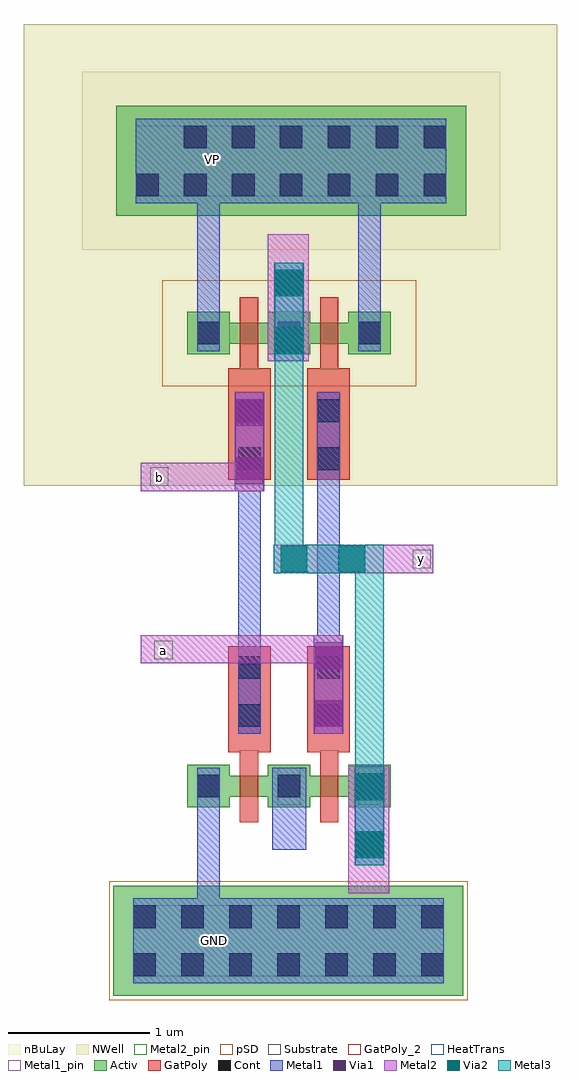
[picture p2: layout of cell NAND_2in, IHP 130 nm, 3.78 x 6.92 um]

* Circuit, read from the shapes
.subckt NAND_2in GND VP a b y
XM1 n1 b GND GND sg13_lv_nmos w=0.15u l=0.13u
XM2 y a n1 GND sg13_lv_nmos w=0.15u l=0.13u
XM3 y b VP VP sg13_lv_pmos w=0.15u l=0.13u
XM4 VP a y VP sg13_lv_pmos w=0.15u l=0.13u
.ends

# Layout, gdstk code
from math import pi, radians
import gdstk
lib = gdstk.Library(unit=1e-6, precision=1e-09)
def R(c, l, rs):  # rectangles x0, y0, x1, y1
    for r in rs: c.add(gdstk.rectangle(r[:2], r[2:], *l))
def A(c, l, x, y, w, h, nx, ny, dx, dy):  # array of equal rectangles
    R(c, l, [(x+i*dx, y+j*dy, x+i*dx+w, y+j*dy+h) for i in range(nx) for j in range(ny)])
Activ = (1, 0)
GatPoly = (5, 0)
GatPoly_2 = (5, 2)
Cont = (6, 0)
Metal1 = (8, 0)
Metal1_pin = (8, 2)
Metal2 = (10, 0)
Metal2_pin = (10, 2)
pSD = (14, 0)
Via1 = (19, 0)
Via2 = (29, 0)
Metal3 = (30, 0)
NWell = (31, 0)
nBuLay = (32, 0)
Substrate = (40, 0)
HeatTrans = (51, 0)

pmos_5 = lib.new_cell('pmos$5')
A(pmos_5, Activ, 0, 0, 0.3, 0.3, 3, 1, 0.57, 0)
R(pmos_5, Activ, [(0,0.075,1.44,0.225)])
R(pmos_5, GatPoly, [(0.37,-0.105,0.5,0.405), (0.37,-0.105,0.5,0.405), (0.94,-0.105,1.07,0.405)])
A(pmos_5, Cont, 0.07, 0.07, 0.16, 0.16, 3, 1, 0.57, 0)
R(pmos_5, Metal1, [(0.07,0.02,0.23,0.28), (0.07,0.02,0.23,0.28), (0.64,0.02,0.8,0.28), (0.64,0.02,0.8,0.28), (1.21,0.02,1.37,0.28)])
R(pmos_5, pSD, [(-0.18,-0.225,1.62,0.525)])
R(pmos_5, NWell, [(-0.31,-0.31,1.75,0.61)])
R(pmos_5, Substrate, [(1.14,0,1.44,0.3)])
R(pmos_5, HeatTrans, [(0.37,-0.105,0.5,0.405), (0.94,-0.105,1.07,0.405)])
pmos_5.add(gdstk.Label('pmos', (0.435,0.15), layer=63, texttype=0))
pmos_5.add(gdstk.Label('pmos', (0.435,0.15), layer=51, texttype=0))
pmos_5.add(gdstk.Label('pmos', (1.005,0.15), layer=51, texttype=0))

via_14 = lib.new_cell('Via$14')
R(via_14, GatPoly, [(-0.32,-0.15,0.32,0.15)])
R(via_14, Cont, [(-0.25,-0.08,-0.09,0.08), (0.09,-0.08,0.25,0.08)])
R(via_14, Metal1, [(-0.3,-0.08,0.3,0.08)])

nmos_5 = lib.new_cell('nmos$5')
A(nmos_5, Activ, 0, 0, 0.3, 0.3, 3, 1, 0.57, 0)
R(nmos_5, Activ, [(0,0.075,1.44,0.225)])
R(nmos_5, GatPoly, [(0.37,-0.105,0.5,0.405), (0.94,-0.105,1.07,0.405)])
R(nmos_5, GatPoly_2, [(0.37,-0.105,0.5,0.405)])
A(nmos_5, Cont, 0.07, 0.07, 0.16, 0.16, 3, 1, 0.57, 0)
A(nmos_5, Metal1, 0.07, 0.02, 0.16, 0.26, 3, 1, 0.57, 0)
R(nmos_5, Metal1_pin, [(0.07,0.02,0.23,0.28), (0.64,0.02,0.8,0.28)])
R(nmos_5, HeatTrans, [(0.37,-0.105,0.5,0.405), (0.94,-0.105,1.07,0.405)])
nmos_5.add(gdstk.Label('nmos', (0.435,0.15), layer=63, texttype=0))
nmos_5.add(gdstk.Label('nmos', (0.435,0.15), layer=51, texttype=0))
nmos_5.add(gdstk.Label('nmos', (1.005,0.15), layer=51, texttype=0))

ptap = lib.new_cell('ptap')
R(ptap, Activ, [(-0.425,-1.215,0.355,-0.435)])
R(ptap, Cont, [(-0.285,-1.075,-0.125,-0.915), (0.055,-1.075,0.215,-0.915), (-0.285,-0.735,-0.125,-0.575), (0.055,-0.735,0.215,-0.575)])
R(ptap, Metal1, [(-0.285,-1.125,0.215,-0.525)])
R(ptap, Metal1_pin, [(-0.285,-1.075,0.215,-0.575)])
R(ptap, pSD, [(-0.455,-1.245,0.385,-0.405)])

ntap = lib.new_cell('ntap')
R(ntap, Activ, [(-0.665,-0.22,0.115,0.56)])
R(ntap, Cont, [(-0.525,-0.08,-0.365,0.08), (-0.525,0.26,-0.365,0.42), (-0.185,0.26,-0.025,0.42)])
R(ntap, Metal1, [(-0.525,-0.13,-0.025,0.47)])
R(ntap, Metal1_pin, [(-0.525,-0.08,-0.025,0.42)])
R(ntap, NWell, [(-0.905,-0.46,0.355,0.8)])
R(ntap, nBuLay, [(-0.905,-0.46,0.355,0.8)])

via_3_3 = lib.new_cell('Via$3$3')
R(via_3_3, Metal2, [(-0.1,-0.35,0.1,0.35)])
R(via_3_3, Via2, [(-0.095,-0.3,0.095,-0.11), (-0.095,0.11,0.095,0.3)])
R(via_3_3, Metal3, [(-0.1,-0.35,0.1,0.35)])

via_2_3 = lib.new_cell('Via$2$3')
R(via_2_3, Metal1, [(-0.105,-0.35,0.105,0.35)])
R(via_2_3, Metal2, [(-0.1,-0.35,0.1,0.35)])
R(via_2_3, Via1, [(-0.095,-0.3,0.095,-0.11), (-0.095,0.11,0.095,0.3)])

nand_2in = lib.new_cell('NAND_2in')
R(nand_2in, GatPoly, [(0.68,-2.53,0.81,-2.42), (0.6,-2.51,0.9,-2.4), (1.16,-2.51,1.46,-2.4), (0.6,0.06,0.9,0.21), (1.16,0.06,1.46,0.21), (0.68,0.16,0.81,0.25), (1.25,0.16,1.38,0.25)])
R(nand_2in, Metal1, [(0.38,-3.655,0.54,-2.875), (0.91,-3.2,1.15,-2.94), (0.91,-2.96,1.15,-2.62), (0.67,-2.21,0.83,-1.27), (1.23,-2.21,1.39,-1.27), (0.67,-1.31,0.83,-0.37), (1.23,-1.31,1.39,-0.37), (1.52,0.48,1.68,0.68), (0.38,0.49,0.54,0.63), (0.38,0.595,0.54,1.47), (1.52,0.595,1.68,1.42)])
R(nand_2in, Metal1_pin, [(0.435,-3.91,0.565,-3.78), (0.425,1.63,0.555,1.76)])
R(nand_2in, Metal2, [(1.45,-3.51,1.74,-3.31), (1.45,-3.31,1.74,-2.61), (-0.02,-1.88,0.41,-1.68), (0.41,-1.88,0.84,-1.68), (0.81,-1.88,1.24,-1.68), (1.62,-1.24,2.05,-1.04), (-0.02,-0.66,0.41,-0.46), (0.41,-0.66,0.84,-0.46), (0.88,0.26,1.17,0.46), (0.88,0.46,1.17,1.16)])
R(nand_2in, Metal2_pin, [(0.075,-1.85,0.205,-1.72), (1.905,-1.205,2.035,-1.075), (0.045,-0.62,0.175,-0.49)])
R(nand_2in, Metal3, [(1.5,-2.62,1.7,-2.42), (1.5,-2.45,1.7,-1.04), (0.93,-1.09,1.13,0.17), (0.93,0.1,1.13,0.2), (0.93,0.19,1.13,0.35)])
R(nand_2in, NWell, [(-0.85,-0.62,2.93,2.65)])
nand_2in.add(gdstk.Reference(pmos_5, (1.75,0.61), rotation=pi))
nand_2in.add(gdstk.Reference(via_14, (1.31,-0.26), rotation=3*pi/2))
nand_2in.add(gdstk.Reference(via_14, (0.75,-0.26), rotation=3*pi/2))
nand_2in.add(gdstk.Reference(via_14, (0.75,-2.08), rotation=3*pi/2))
nand_2in.add(gdstk.Reference(via_14, (1.31,-2.08), rotation=3*pi/2))
nand_2in.add(gdstk.Reference(nmos_5, (1.75,-2.6), rotation=pi))
nand_2in.add(gdstk.Reference(ptap, (0.14,-4.67), rotation=pi))
nand_2in.add(gdstk.Reference(ptap, (0.48,-4.67), rotation=pi))
nand_2in.add(gdstk.Reference(ptap, (0.82,-4.67), rotation=pi))
nand_2in.add(gdstk.Reference(ptap, (1.16,-4.67), rotation=pi))
nand_2in.add(gdstk.Reference(ptap, (1.5,-4.67), rotation=pi))
nand_2in.add(gdstk.Reference(ptap, (1.84,-4.67), rotation=pi))
nand_2in.add(gdstk.Reference(ntap, (-0.08,1.85), rotation=pi))
nand_2in.add(gdstk.Reference(ntap, (0.26,1.85), rotation=pi))
nand_2in.add(gdstk.Reference(ntap, (0.6,1.85), rotation=pi))
nand_2in.add(gdstk.Reference(ntap, (0.94,1.85), rotation=pi))
nand_2in.add(gdstk.Reference(ntap, (1.28,1.85), rotation=pi))
nand_2in.add(gdstk.Reference(ntap, (1.62,1.85), rotation=pi))
nand_2in.add(gdstk.Reference(via_3_3, (1.27,-1.14), rotation=3*pi/2))
nand_2in.add(gdstk.Reference(via_2_3, (0.75,-0.31), rotation=pi))
nand_2in.add(gdstk.Reference(via_2_3, (1.6,-2.96), rotation=pi))
nand_2in.add(gdstk.Reference(via_3_3, (1.6,-2.96), rotation=pi))
nand_2in.add(gdstk.Reference(via_2_3, (1.03,0.61), rotation=pi))
nand_2in.add(gdstk.Reference(via_3_3, (1.03,0.61), rotation=pi))
nand_2in.add(gdstk.Reference(via_2_3, (1.31,-2.03), rotation=pi))
nand_2in.add(gdstk.Label('a', (0.14,-1.79), layer=10, texttype=25))
nand_2in.add(gdstk.Label('b', (0.11,-0.56), layer=10, texttype=25))
nand_2in.add(gdstk.Label('y', (1.97,-1.14), layer=10, texttype=25))
nand_2in.add(gdstk.Label('VP', (0.49,1.69), layer=8, texttype=25))
nand_2in.add(gdstk.Label('GND', (0.5,-3.84), layer=8, texttype=25))

lib.write_gds('NAND_2in.gds')
